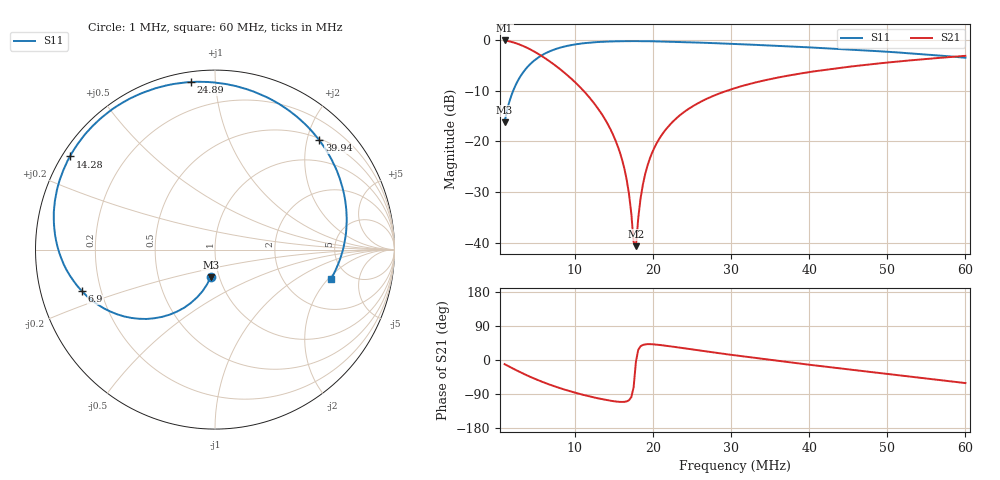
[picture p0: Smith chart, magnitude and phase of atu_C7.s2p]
! S11/S21 from S-A-A-2 VNA
! Written 2026-11-14 07:45:37 by the saav2 MCP server
! S12 and S22 were not measured (1.5-port VNA) and are written as 0
# HZ S RI R 50
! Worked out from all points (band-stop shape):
!   201 points, 1 MHz to 60 MHz, reference 50 ohm
!   highest |S21| = -0.14 dB at 1 MHz (marker M1); lowest = -40.6 dB at 17.82 MHz (marker M2)
!   |S21| within 3 dB of the highest: start of sweep to 5.687 MHz
!   lowest |S11| = -16.2 dB at 1 MHz (marker M3), VSWR 1.37, Z = 45.6 - j14.3 ohm
!   |S11| at or under -10 dB: start of sweep to 2.109 MHz
!   S12 and S22 are empty: the file has one direction only
!   S11 on the Smith chart (normalised r, x): 1 MHz: 0.91, -0.29; 6.9 MHz: 0.13, -0.15; 14.28 MHz: 0.02, +0.29; 24.89 MHz: 0.05, +0.86; 39.94 MHz: 0.53, +2.23; 60 MHz: 3.62, -2.15
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1000000  -0.0234 -0.1531  0.9658 -0.1883  0 0  0 0
1885000  -0.1009 -0.2671  0.8919 -0.3353  0 0  0 0
3065000  -0.2522 -0.3623  0.7472 -0.4807  0 0  0 0
4835000  -0.5064 -0.3723  0.497 -0.5785  0 0  0 0
6900000  -0.7412 -0.2315  0.2461 -0.5506  0 0  0 0
8965000  -0.8683 -0.0158  0.0797 -0.4459  0 0  0 0
1.103e7  -0.8981 0.211  -0.00979 -0.3193  0 0  0 0
1.4275e7  -0.8087 0.5187  -0.0411 -0.1389  0 0  0 0
1.634e7  -0.7007 0.6685  -0.0188 -0.0505  0 0  0 0
1.693e7  -0.6655 0.7043  -0.0084 -0.0292  0 0  0 0
1.752e7  -0.629 0.7376  0.00318 -0.00975  0 0  0 0
1.7815e7  -0.6103 0.7528  0.00931 -0.000683  0 0  0 0
1.811e7  -0.5912 0.7676  0.0157 0.00792  0 0  0 0
1.87e7  -0.5527 0.7953  0.0288 0.0239  0 0  0 0
1.9585e7  -0.4938 0.8308  0.0504 0.045  0 0  0 0
2.0765e7  -0.4132 0.8693  0.0806 0.0674  0 0  0 0
2.4895e7  -0.1347 0.9335  0.1913 0.103  0 0  0 0
3.05e7  0.1984 0.886  0.3266 0.0711  0 0  0 0
3.994e7  0.5815 0.6085  0.4686 -0.1023  0 0  0 0
4.053e7  0.5975 0.5867  0.4735 -0.1158  0 0  0 0
5.0265e7  0.7328 0.1992  0.4761 -0.3638  0 0  0 0
6e7  0.6444 -0.1655  0.3379 -0.6068  0 0  0 0
